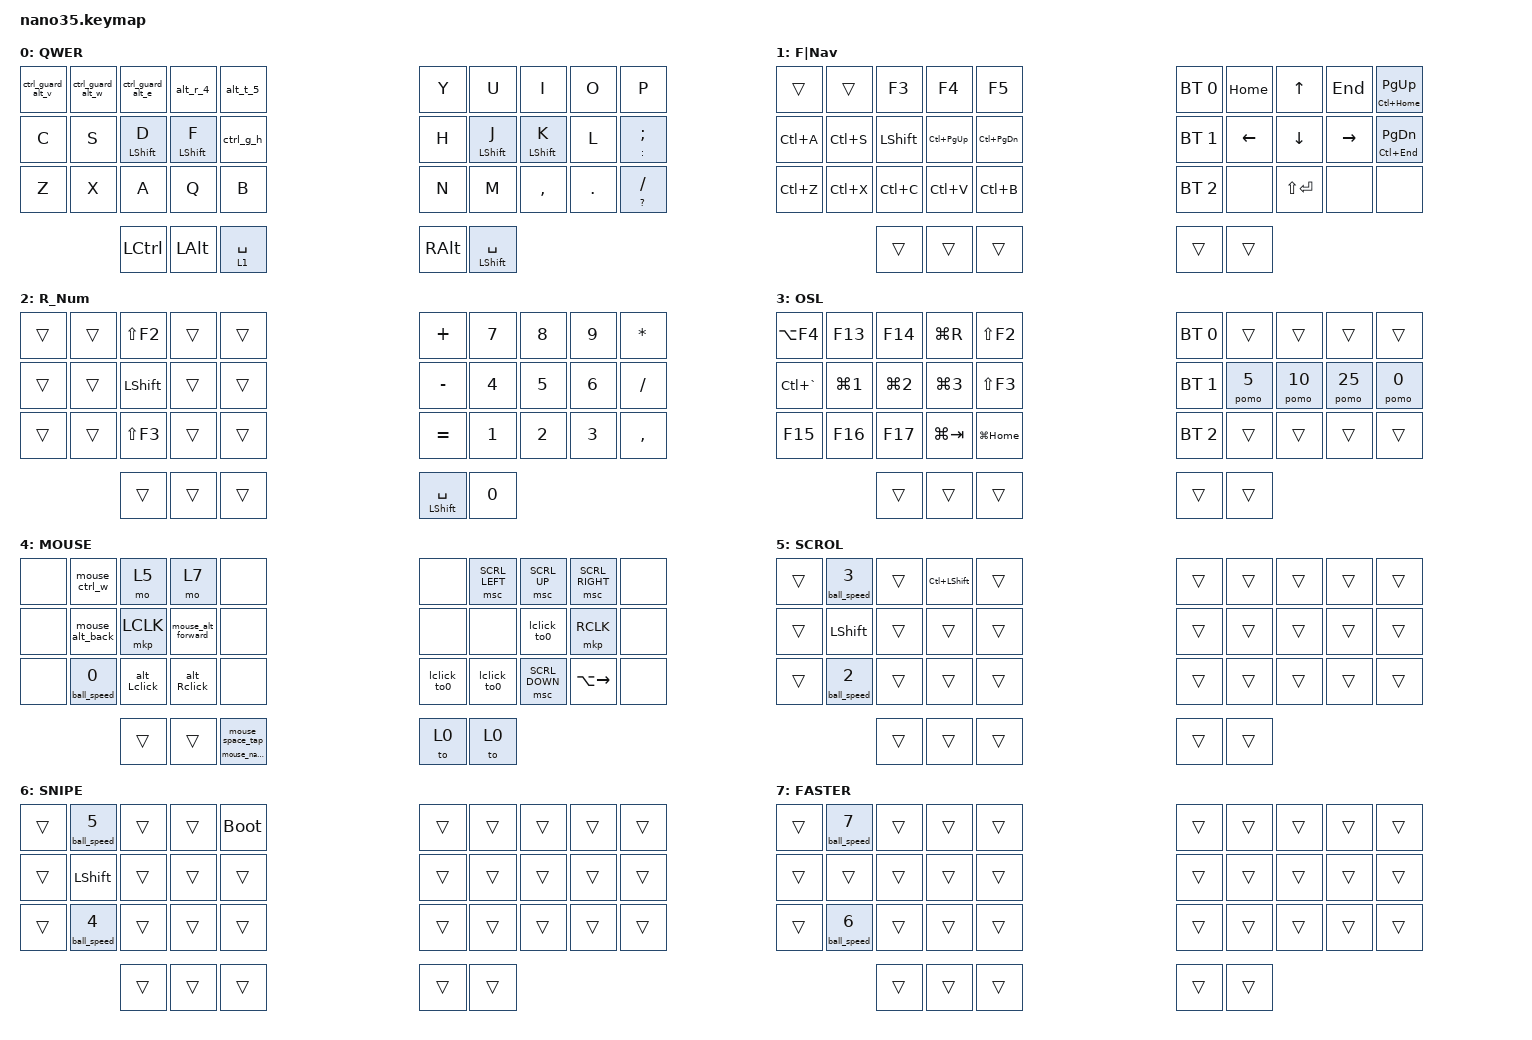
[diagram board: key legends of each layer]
#define QWERTY 0
#define NAV    1
#define NUM    2
#define OSL    3
#define MOUSE  4
#define SCROLL 5
#define SNIPE  6
#define FASTER 7
#define ZMK_POINTING_DEFAULT_SCRL_VAL 30

#include <behaviors.dtsi>
#include <dt-bindings/zmk/bt.h>
#include <dt-bindings/zmk/keys.h>
#include <dt-bindings/zmk/outputs.h>
#include <dt-bindings/zmk/pointing.h>

/ {
    behaviors {
        mouse_osl: mouse_osl {
            compatible = "zmk,behavior-macro";
            #binding-cells = <0>;
            wait-ms = <0>;
            tap-ms = <0>;
            bindings = <&to 0>, <&sl 3>;
        };
        // Thumb modifiers remain ordinary Ctrl/Alt. No combo timing window:
        // hold the thumb first, then press the target key at any time.
        mouse_ctrl_w: mouse_ctrl_w {
            compatible = "zmk,behavior-mod-morph";
            #binding-cells = <0>;
            bindings = <&ball_speed 1>, <&kp W>;
            mods = <MOD_LCTL>;
            keep-mods = <MOD_LCTL>;
        };
        mouse_alt_back: mouse_alt_back {
            compatible = "zmk,behavior-mod-morph";
            #binding-cells = <0>;
            bindings = <&kp LSHIFT>, <&kp LEFT>;
            mods = <MOD_LALT>;
            keep-mods = <MOD_LALT>;
        };
        mouse_alt_forward: mouse_alt_forward {
            compatible = "zmk,behavior-mod-morph";
            #binding-cells = <0>;
            bindings = <&mkp RCLK>, <&kp RIGHT>;
            mods = <MOD_LALT>;
            keep-mods = <MOD_LALT>;
        };
        // Preserve ordinary Alt+Tab until BOTH thumb modifiers are held.
        mouse_tab: mouse_tab {
            compatible = "zmk,behavior-mod-morph";
            #binding-cells = <0>;
            bindings = <&kp TAB>, <&mouse_tab_alt>;
            mods = <MOD_LCTL>;
            keep-mods = <MOD_LCTL>;
        };
        mouse_tab_alt: mouse_tab_alt {
            compatible = "zmk,behavior-mod-morph";
            #binding-cells = <0>;
            bindings = <&kp TAB>, <&mouse_win_tab>;
            mods = <MOD_LALT>;
            keep-mods = <MOD_LALT>;
        };
        mouse_win_tab: mouse_win_tab {
            compatible = "zmk,behavior-mod-morph";
            #binding-cells = <0>;
            // A separate final morph is required: nested morph masks replace,
            // rather than combine with, the previous mask in pinned ZMK.
            bindings = <&kp LG(TAB)>, <&kp LG(TAB)>;
            mods = <(MOD_LCTL | MOD_LALT)>;
        };
        // Move (not momentary-add) to NAV so Mouse cannot mask lower L1.
        // Both outcomes leave Mouse; release of the hold returns to BASE.
        mouse_nav_hold: mouse_nav_hold {
            compatible = "zmk,behavior-macro";
            #binding-cells = <0>;
            wait-ms = <0>;
            tap-ms = <0>;
            bindings = <&macro_tap>, <&to 1>,
                       <&macro_pause_for_release>, <&macro_tap>, <&to 0>;
        };
        mouse_space_tap: mouse_space_tap {
            compatible = "zmk,behavior-macro";
            #binding-cells = <0>;
            wait-ms = <0>;
            tap-ms = <0>;
            bindings = <&macro_tap>, <&to 0>,
                       <&macro_press>, <&kp SPACE>,
                       <&macro_pause_for_release>, <&macro_release>, <&kp SPACE>;
        };
        mouse_space_nav: mouse_space_nav {
            compatible = "zmk,behavior-hold-tap";
            #binding-cells = <2>;
            tapping-term-ms = <240>;
            flavor = "balanced";
            quick-tap-ms = <150>;
            bindings = <&mouse_nav_hold>, <&mouse_space_tap>;
        };
        ball_speed: ball_speed {
            compatible = "nano35,ball-speed";
            #binding-cells = <1>;
        };
        pomo: pomodoro {
            compatible = "nano35,pomodoro";
            #binding-cells = <1>;
        };
    };
};

/*
 * Nano35: retain TOTEM QWERTY/NAV/NUM/OSL (0..3).
 * Add Keyball Mouse/Scroll/Snipe at 4/5/6 on the USB central.
 * Sensor orientation and 400 CPI on the right peripheral stay unchanged.
 */

&lt {
    tapping-term-ms = <240>;
    flavor = "balanced";
    quick-tap-ms = <150>;
};

&mt {
    tapping-term-ms = <200>;
    flavor = "tap-preferred";
    quick-tap-ms = <150>;
};

&caps_word { continue-list = <UNDERSCORE MINUS>; };

/ {
    behaviors {
        cmqus: comma_question {
            compatible = "zmk,behavior-mod-morph";
            label = "COMMA_QUESTION";
            #binding-cells = <0>;
            bindings = <&kp COMMA>, <&kp QUESTION>;

            mods = <(MOD_LSFT | MOD_RSFT)>;
        };

        dtsmi: dot_semi {
            compatible = "zmk,behavior-mod-morph";
            label = "DOT_SEMI";
            #binding-cells = <0>;
            bindings = <&kp DOT>, <&kp SEMI>;

            mods = <(MOD_LSFT | MOD_RSFT)>;
        };

        hrm_L: homerow_left {
            compatible = "zmk,behavior-hold-tap";
            label = "Homerow_L";
            bindings = <&kp>, <&kp>;

            #binding-cells = <2>;
            tapping-term-ms = <280>;
            quick-tap-ms = <100>;
            flavor = "balanced";
            require-prior-idle-ms = <60>;
            hold-trigger-on-release;
            hold-trigger-key-positions = <5 6 7 8 9 15 16 17 18 19 25 26 27 28 29 33 34>;
        };

        ht: hold_tap {
            compatible = "zmk,behavior-hold-tap";
            label = "Hold_Tap";
            bindings = <&kp>, <&kp>;

            #binding-cells = <2>;
            tapping-term-ms = <170>;
            flavor = "balanced";
        };

        hrm_r: homerow_right {
            compatible = "zmk,behavior-hold-tap";
            label = "Homerow_R";
            bindings = <&kp>, <&kp>;

            #binding-cells = <2>;
            tapping-term-ms = <280>;
            quick-tap-ms = <100>;
            flavor = "balanced";
            require-prior-idle-ms = <60>;
            hold-trigger-on-release;
            hold-trigger-key-positions = <0 1 2 3 4 10 11 12 13 14 20 21 22 23 24 30 31 32>;
        };

        alt_v_1: alt_v_1 {
            compatible = "zmk,behavior-mod-morph";
            label = "ALT_V_1";
            bindings = <&kp V>, <&kp NUMBER_1>;

            #binding-cells = <0>;
            mods = <MOD_LALT>;
            keep-mods = <MOD_LALT>;
        };

        alt_w_2: alt_w_2 {
            compatible = "zmk,behavior-mod-morph";
            label = "ALT_W_2";
            bindings = <&kp W>, <&kp NUMBER_2>;

            #binding-cells = <0>;
            mods = <MOD_LALT>;
            keep-mods = <MOD_LALT>;
        };

        alt_e_3: alt_e_3 {
            compatible = "zmk,behavior-mod-morph";
            label = "ALT_E_3";
            bindings = <&kp E>, <&kp NUMBER_3>;

            #binding-cells = <0>;
            mods = <MOD_LALT>;
            keep-mods = <MOD_LALT>;
        };

        alt_r_4: alt_r_4 {
            compatible = "zmk,behavior-mod-morph";
            label = "ALT_R_4";
            bindings = <&kp R>, <&kp NUMBER_4>;

            #binding-cells = <0>;
            mods = <MOD_LALT>;
            keep-mods = <MOD_LALT>;
        };

        alt_t_5: alt_t_5 {
            compatible = "zmk,behavior-mod-morph";
            label = "ALT_T_5";
            bindings = <&kp T>, <&kp NUMBER_5>;

            #binding-cells = <0>;
            mods = <MOD_LALT>;
            keep-mods = <MOD_LALT>;
        };

        space_to0: space_to0 {
            compatible = "zmk,behavior-tap-dance";
            label = "SPACE_TO0";
            #binding-cells = <0>;
            bindings = <&kp SPACE>, <&to 0>;
        };

        space_shift: space_shift {
            compatible = "zmk,behavior-hold-tap";
            label = "SPACE_SHIFT";
            bindings = <&kp>, <&kp>;

            #binding-cells = <2>;
            tapping-term-ms = <200>;
            quick-tap-ms = <150>;
            flavor = "tap-preferred";
        };

        mo_dtap_to_NavNum: mo_dtap_to_NavNum {
            compatible = "zmk,behavior-tap-dance";
            label = "MO_DTAP_TO_NAVNUM";
            #binding-cells = <0>;
            bindings = <&mo 2>, <&tog 2>;
        };

        ctrl_guard_alt_e: ctrl_guard_alt_e {
            compatible = "zmk,behavior-mod-morph";
            label = "CTRL_GUARD_ALT_E";
            bindings = <&alt_e_3>, <&kp E>;

            #binding-cells = <0>;
            mods = <(MOD_LCTL)>;
            keep-mods = <(MOD_LCTL)>;
        };

        ctrl_guard_alt_v: ctrl_guard_alt_v {
            compatible = "zmk,behavior-mod-morph";
            label = "CTRL_GUARD_ALT_V";
            bindings = <&alt_v_1>, <&kp V>;

            #binding-cells = <0>;
            mods = <(MOD_LCTL)>;
            keep-mods = <(MOD_LCTL)>;
        };

        ctrl_guard_alt_w: ctrl_guard_alt_w {
            compatible = "zmk,behavior-mod-morph";
            label = "CTRL_GUARD_ALT_W";
            bindings = <&alt_w_2>, <&kp W>;

            #binding-cells = <0>;
            mods = <(MOD_LCTL)>;
            keep-mods = <(MOD_LCTL)>;
        };

        mo_NumNav_dt_to_NavNum: mo_NumNav_dt_to_NavNum {
            compatible = "zmk,behavior-tap-dance";
            label = "MO_NUMNAV_DT_TO_NAVNUM";
            #binding-cells = <0>;
            bindings = <&mo3_to2_in 0 0>, <&to 2>;
        };

        mo3_to2_in: mo3_to2_in {
            compatible = "zmk,behavior-hold-tap";
            label = "MO3_TO2_IN";
            bindings = <&mo>, <&none>;

            #binding-cells = <2>;
            tapping-term-ms = <150>;
        };

        n_b: n_b {
            compatible = "zmk,behavior-tap-dance";
            label = "N_B";
            #binding-cells = <0>;
            bindings = <&kp N>, <&kp B>;
        };

        t_dot_dt_to0: t_dot_dt_to0 {
            compatible = "zmk,behavior-tap-dance";
            label = "T_DOT_DT_TO0";
            #binding-cells = <0>;
            bindings = <&kp DOT>, <&to 0>;
        };

        b_n: b_n {
            compatible = "zmk,behavior-tap-dance";
            label = "B_N";
            #binding-cells = <0>;
            bindings = <&kp B>, <&kp N>;
        };

        caps_c: caps_c {
            compatible = "zmk,behavior-hold-tap";
            label = "CAPS_C";
            bindings = <&kp>, <&kp>;

            #binding-cells = <2>;
            tapping-term-ms = <200>;
        };

        ctrl_g_h: ctrl_g_h {
            compatible = "zmk,behavior-mod-morph";
            label = "CTRL_G_H";
            bindings = <&kp G>, <&kp H>;

            #binding-cells = <0>;
            keep-mods = <(MOD_LCTL)>;
            mods = <(MOD_LCTL)>;
        };
    };

    macros {
        Hiragana: Hiragana {
            compatible = "zmk,behavior-macro";
            #binding-cells = <0>;
            bindings = <&kp LC(SPACE)>;
            label = "HIRAGANA";
        };

        bt_in_out: bluetooth {
            compatible = "zmk,behavior-macro";
            #binding-cells = <0>;
            bindings = <&bt BT_SEL 0 &out OUT_TOG>;
            label = "BLUETOOTH";
        };

        lclick_to0: lclick_to0 {
            compatible = "zmk,behavior-macro";
            #binding-cells = <0>;
            bindings = <&macro_tap>, <&mkp LCLK &to 0>;
        };

        alt_Lclick: alt_click {
            compatible = "zmk,behavior-macro";
            #binding-cells = <0>;
            bindings =
                <&macro_press>,
                <&kp LALT &mkp LCLK>,
                <&macro_pause_for_release>,
                <&macro_release>,
                <&mkp LCLK &kp LEFT_ALT>;

            label = "ALT_CLICK";
        };

        alt_Rclick: alt_right_click {
            compatible = "zmk,behavior-macro";
            #binding-cells = <0>;
            bindings =
                <&macro_press>,
                <&kp LALT &mkp RCLK>,
                <&macro_pause_for_release>,
                <&macro_release>,
                <&mkp RCLK &kp LEFT_ALT>;

            label = "ALT_RIGHT_CLICK";
        };
    };

    combos {
        compatible = "zmk,combos";

        nano35_studio_unlock {
            bindings = <&studio_unlock>;
            key-positions = <0 9>;
            layers = <3>;
        };

        enter_r {
            bindings = <&kp ENTER>;
            key-positions = <16 17>;
            layers = <0>;
        };

        enter_l {
            bindings = <&kp ENTER>;
            key-positions = <12 13>;
            layers = <0>;
        };

        del_r {
            bindings = <&kp DELETE>;
            key-positions = <27 28>;
            layers = <0 2 1 4>;
        };

        del_l {
            bindings = <&kp DELETE>;
            key-positions = <22 23>;
            layers = <0 1 2 4>;
        };

        bsp_r {
            bindings = <&kp BACKSPACE>;
            key-positions = <26 27>;
            layers = <0 2 1 4>;
        };

        bsp_l {
            bindings = <&kp BACKSPACE>;
            key-positions = <21 22>;
            layers = <0 2 1 4>;
        };

        caps_combo {
            bindings = <&kp CAPSLOCK>;
            key-positions = <20 21>;
            layers = <0>;
        };

        esc_combo {
            bindings = <&kp ESCAPE>;
            key-positions = <0 1>;
            layers = <0>;
        };

        osl_combo {
            bindings = <&sl 3>;
            key-positions = <11 12 13>;
            layers = <0>;
        };

        shift_home {
            bindings = <&kp LS(HOME)>;
            key-positions = <7 6>;
            layers = <1>;
        };

        shift_end {
            bindings = <&kp LS(END)>;
            key-positions = <8 7>;
            layers = <1>;
        };

        ctrl_left {
            bindings = <&kp LC(LEFT_ARROW)>;
            key-positions = <16 17>;
            layers = <1>;
        };

        ctrl_right {
            bindings = <&kp LC(RIGHT)>;
            key-positions = <17 18>;
            layers = <1>;
        };

        space_combo {
            bindings = <&kp SPACE>;
            key-positions = <23 24>;
            layers = <0>;
        };

        tab_combo {
            bindings = <&kp TAB>;
            key-positions = <11 10>;
            layers = <0 2>;
        };

        minus_underscore {
            bindings = <&kp MINUS>;
            key-positions = <6 7>;
            layers = <0>;
        };

        quote {
            bindings = <&kp SINGLE_QUOTE>;
            key-positions = <18 19>;
            layers = <0>;
        };

        dtap_to_l2 {
            bindings = <&mo_dtap_to_NavNum>;
            key-positions = <11 23>;
            layers = <0>;
        };

        kp {
            bindings = <&kp LEFT_PARENTHESIS>;
            key-positions = <3 4>;
            layers = <0 1 2 3>;
        };

        bra_R {
            bindings = <&kp RIGHT_PARENTHESIS>;
            key-positions = <6 5>;
            layers = <0 1 2 3>;
        };

        BKT_L {
            bindings = <&kp LEFT_BRACKET>;
            key-positions = <13 14>;
            layers = <0 1 2 3>;
        };

        BKT_R {
            bindings = <&kp RIGHT_BRACKET>;
            key-positions = <16 15>;
            layers = <0 1 2 3>;
        };

        gui_l {
            bindings = <&kp LG(L)>;
            key-positions = <1 2 0>;
            layers = <0>;
        };

        shift_home_l2 {
            bindings = <&kp LS(HOME)>;
            key-positions = <1 2>;
            layers = <2>;
        };

        shift_end_l2 {
            bindings = <&kp LS(END)>;
            key-positions = <2 3>;
            layers = <2>;
        };

        ctrl_left_l2 {
            bindings = <&kp LC(LEFT)>;
            key-positions = <11 12>;
            layers = <2>;
        };

        ctrl_righr_l2 {
            bindings = <&kp LC(RIGHT)>;
            key-positions = <12 13>;
            layers = <2>;
        };

        grave_R {
            bindings = <&kp GRAVE>;
            key-positions = <7 8>;
            layers = <0>;
        };

        backslash {
            bindings = <&kp BSLH>;
            key-positions = <28 29>;
            layers = <0>;
        };

        R_b {
            bindings = <&kp B>;
            key-positions = <25 26>;
            layers = <0>;
        };

        ssang_siut {
            bindings = <&kp LS(T)>;
            key-positions = <12 11>;
            layers = <0>;
        };

        dtap_to_l0 {
            bindings = <&to 0>;
            key-positions = <11 23>;
            layers = <2>;
        };

        osl_f2 {
            bindings = <&kp F2>;
            key-positions = <1 2 3>;
            layers = <0>;
        };

        question_mark {
            bindings = <&kp QUESTION>;
            key-positions = <18 27>;
            layers = <0>;
        };

        exclamation_mark {
            bindings = <&kp EXCLAMATION>;
            key-positions = <17 26>;
            layers = <0>;
        };

        sft_r {
            bindings = <&kp LS(R)>;
            key-positions = <2 3>;
            layers = <0>;
        };

        sft_e {
            bindings = <&kp LS(E)>;
            key-positions = <2 1>;
            layers = <0>;
        };

        Sft_o {
            bindings = <&kp LS(O)>;
            key-positions = <6 8>;
            layers = <0>;
        };

        R_c {
            bindings = <&kp C>;
            key-positions = <11 13>;
            layers = <0>;
        };

        Sft_p {
            bindings = <&kp LS(P)>;
            key-positions = <26 28>;
            layers = <0>;
        };

        sft_w {
            bindings = <&kp LS(W)>;
            key-positions = <11 22>;
            layers = <0>;
        };

        sft_q {
            bindings = <&kp LS(Q)>;
            key-positions = <23 12>;
            layers = <0>;
        };

        R_p {
            bindings = <&kp P>;
            key-positions = <18 17>;
            layers = <0>;
        };

        R_v2 {
            bindings = <&kp V>;
            key-positions = <1 3>;
            layers = <0>;
        };

        R_z2 {
            bindings = <&kp Z>;
            key-positions = <21 23>;
            layers = <0>;
        };

        R_p2 {
            bindings = <&kp RIGHT_ALT>;
            key-positions = <18 16>;
            layers = <0>;
        };


        nano35_mouse_snipe {
            bindings = <&mo 6>;
            key-positions = <2 3>;
            layers = <4>;
            timeout-ms = <80>;
        };

        nano35_mouse_tab {
            bindings = <&mouse_tab>;
            key-positions = <10 11>;
            layers = <4>;
            timeout-ms = <80>;
        };

        nano35_mouse_osl {
            bindings = <&mouse_osl>;
            key-positions = <11 12 13>;
            layers = <4>;
        };

        nano35_mouse_manual {
            bindings = <&to 4>;
            key-positions = <0 9>;
            layers = <0>;
        };

        nano35_mouse_middle {
            bindings = <&mkp MCLK>;
            key-positions = <17 18>;
            layers = <4 5 6 7>;
        };

        L_MCLK {
            bindings = <&mkp MCLK>;
            key-positions = <12 13>;
            layers = <4 5 6 7>;
        };
    };

    keymap {
        compatible = "zmk,keymap";

        default_layer {
            label = "QWER";
            display-name = "QWER";
            bindings = <
&ctrl_guard_alt_v  &ctrl_guard_alt_w  &ctrl_guard_alt_e  &alt_r_4        &alt_t_5           &kp Y          &kp U                      &kp I            &kp O    &kp P
&kp C              &kp S              &hrm_L LSHFT D     &hrm_L LSHFT F  &ctrl_g_h          &kp H          &hrm_r LSHIFT J            &hrm_r LSHIFT K  &kp L    &ht COLON SEMICOLON
&kp Z              &kp X              &kp A              &kp Q           &kp B              &kp N          &kp M                      &kp COMMA        &kp DOT  &ht QUESTION SLASH
                                      &kp LCTRL          &kp LALT        &lt 1 SPACE        &kp RIGHT_ALT  &space_shift LSHIFT SPACE
            >;
        };

        f_grave_navi_bt_layer {
            label = "F|Nav";
            display-name = "F|Nav";
            bindings = <
&trans     &trans     &kp F3         &kp F4             &kp F5           &bt BT_SEL 0  &kp HOME        &kp UP_ARROW   &kp END    &ht LC(HOME) PG_UP
&kp LC(A)  &kp LC(S)  &kp LSHIFT     &kp LC(PG_UP)      &kp LC(PAGE_DOWN)            &bt BT_SEL 1  &kp LEFT_ARROW  &kp DOWN       &kp RIGHT  &ht LC(END) PAGE_DOWN
&kp LC(Z)  &kp LC(X)  &kp LC(C)      &kp LC(V)          &kp LC(B)        &bt BT_SEL 2  &none           &kp LS(ENTER)  &none      &none
                      &trans         &trans             &trans           &trans        &trans
            >;
        };

        R_num {
            label = "R_No.";
            display-name = "R_Num";
            bindings = <
&trans  &trans  &kp LS(F2)      &trans  &trans        &kp PLUS                       &kp N7        &kp N8  &kp N9  &kp ASTERISK
&trans  &trans  &kp LEFT_SHIFT  &trans  &trans        &kp MINUS                      &kp N4        &kp N5  &kp N6  &kp SLASH
&trans  &trans  &kp LS(F3)      &trans  &trans        &kp EQUAL                      &kp N1        &kp N2  &kp N3  &kp COMMA
                &trans          &trans  &trans        &space_shift LEFT_SHIFT SPACE  &kp NUMBER_0
            >;
        };

        osl_layer {
            label = "OSL";
            display-name = "OSL";
            bindings = <
&kp LA(F4)     &kp F13           &kp F14           &kp LG(R)         &kp LS(F2)          &bt BT_SEL 0  &trans   &trans    &trans    &trans
&kp LC(GRAVE)  &kp LG(NUMBER_1)  &kp LG(NUMBER_2)  &kp LG(NUMBER_3)  &kp LS(F3)          &bt BT_SEL 1  &pomo 5  &pomo 10  &pomo 25  &pomo 0
&kp F15        &kp F16           &kp F17           &kp LG(TAB)           &kp LG(HOME)        &bt BT_SEL 2  &trans   &trans    &trans    &trans
                                 &trans            &trans            &trans              &trans        &trans
            >;
        };

        mouse_layer {
            display-name = "MOUSE";
            bindings = <
&none  &mouse_ctrl_w  &mo 5        &mo 7        &none         &none        &msc SCRL_LEFT      &msc SCRL_UP    &msc SCRL_RIGHT  &none
&none  &mouse_alt_back  &mkp LCLK    &mouse_alt_forward    &none         &none        &none               &lclick_to0     &mkp RCLK        &none
&none  &ball_speed 0  &alt_Lclick  &alt_Rclick  &none         &lclick_to0  &lclick_to0  &msc SCRL_DOWN  &kp LA(RIGHT)    &none
              &trans       &trans       &mouse_space_nav 0 0  &to 0        &to 0
            >;
        };

        scroll_layer {
            display-name = "SCROL";
            bindings = <
&trans                 &ball_speed 3          &trans                 &kp LC(LSHIFT)         &trans                 &trans                 &trans                 &trans                 &trans                 &trans
&trans                 &kp LSHIFT             &trans                 &trans                 &trans                 &trans                 &trans                 &trans                 &trans                 &trans
&trans                 &ball_speed 2          &trans                 &trans                 &trans                 &trans                 &trans                 &trans                 &trans                 &trans
                                              &trans                 &trans                 &trans                 &trans                 &trans
            >;

            label = "SCROL";
        };

        snipe_layer {
            display-name = "SNIPE";
            bindings = <
&trans                 &ball_speed 5          &trans                 &trans                 &bootloader            &trans                 &trans                 &trans                 &trans                 &trans
&trans                 &kp LSHIFT             &trans                 &trans                 &trans                 &trans                 &trans                 &trans                 &trans                 &trans
&trans                 &ball_speed 4          &trans                 &trans                 &trans                 &trans                 &trans                 &trans                 &trans                 &trans
                                              &trans                 &trans                 &trans                 &trans                 &trans
            >;
        };

        faster_layer {
            display-name = "FASTER";
            bindings = <
&trans &ball_speed 7 &trans &trans &trans &trans &trans &trans &trans &trans
&trans &trans &trans &trans &trans &trans &trans &trans &trans &trans
&trans &ball_speed 6 &trans &trans &trans &trans &trans &trans &trans &trans
                            &trans &trans &trans &trans &trans
            >;
        };
    };
};
